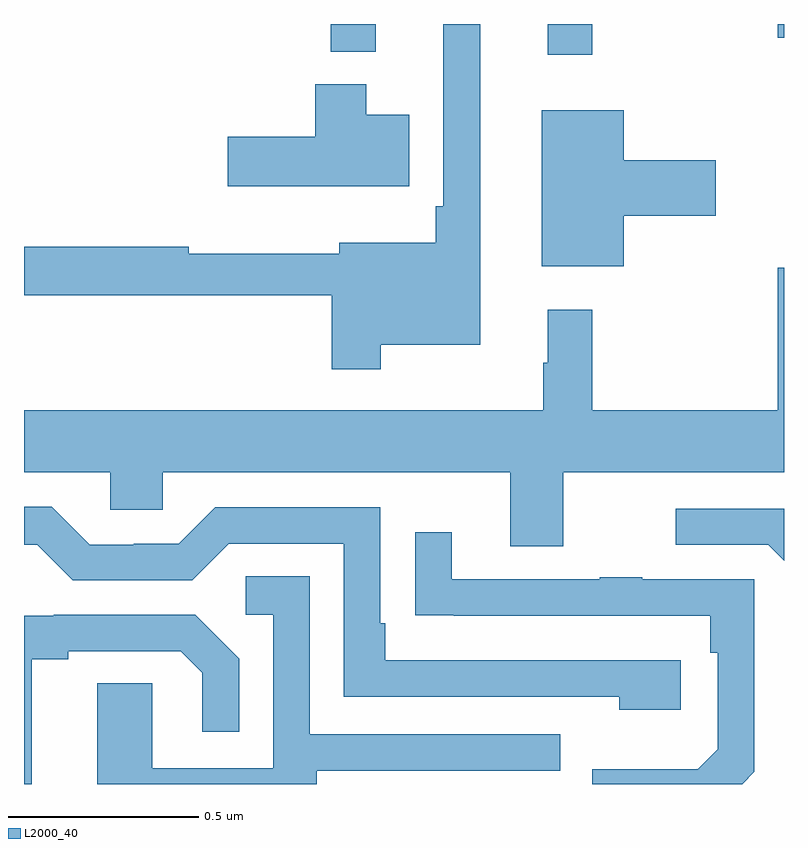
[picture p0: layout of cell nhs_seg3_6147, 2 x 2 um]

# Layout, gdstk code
import gdstk
lib = gdstk.Library(unit=1e-6, precision=1e-09)
def R(c, l, rs):  # rectangles x0, y0, x1, y1
    for r in rs: c.add(gdstk.rectangle(r[:2], r[2:], *l))
def P(c, l, *ps):  # polygons
    for p in ps: c.add(gdstk.Polygon(p, *l))
L2000_40 = (2000, 40)

nhs_seg3_6147 = lib.new_cell('nhs_seg3_6147')
R(nhs_seg3_6147, L2000_40, [(188.378,731.319,188.495,731.4), (187.807,731.327,187.925,731.4), (188.984,731.364,189,731.4)])
P(nhs_seg3_6147, L2000_40, [(187.939,730.556),(188.2,730.556),(188.2,731.4),(188.103,731.4),(188.103,730.921),(188.083,730.921),(188.083,730.825),(187.829,730.825),(187.829,730.795),(187.433,730.795),(187.433,730.814),(187,730.814),(187,730.686),(187.81,730.686),(187.81,730.491),(187.939,730.491)],
  [(188.014,731.161),(187.9,731.161),(187.9,731.242),(187.766,731.242),(187.766,731.103),(187.536,731.103),(187.536,730.973),(188.014,730.973)],
  [(188.578,730.895),(188.821,730.895),(188.821,731.042),(188.578,731.042),(188.578,731.173),(188.363,731.173),(188.363,730.763),(188.578,730.763)],
  [(188.419,730.22),(189,730.22),(189,730.759),(188.984,730.759),(188.984,730.384),(188.495,730.384),(188.495,730.648),(188.378,730.648),(188.378,730.508),(188.367,730.508),(188.367,730.384),(187,730.384),(187,730.22),(187.227,730.22),(187.227,730.122),(187.365,730.122),(187.365,730.22),(188.279,730.22),(188.279,730.026),(188.419,730.026)],
  [(188.728,729.726),(187.951,729.726),(187.951,729.823),(187.938,729.823),(187.938,730.128),(187.503,730.128),(187.407,730.032),(187.289,730.032),(187.289,730.029),(187.173,730.029),(187.073,730.129),(187,730.129),(187,730.029),(187.035,730.029),(187.128,729.936),(187.443,729.936),(187.539,730.032),(187.842,730.032),(187.842,729.63),(188.567,729.63),(188.567,729.596),(188.728,729.596)],
  [(189,730.125),(188.715,730.125),(188.715,730.029),(188.958,730.029),(189,729.987)],
  [(188.922,729.432),(188.922,729.939),(188.627,729.939),(188.627,729.944),(188.515,729.944),(188.515,729.939),(188.125,729.939),(188.125,730.063),(188.029,730.063),(188.029,729.844),(188.131,729.844),(188.131,729.843),(188.806,729.843),(188.806,729.746),(188.826,729.746),(188.826,729.492),(188.773,729.439),(188.496,729.439),(188.496,729.4),(188.89,729.4)],
  [(187.771,729.435),(188.411,729.435),(188.411,729.531),(187.752,729.531),(187.752,729.947),(187.584,729.947),(187.584,729.846),(187.656,729.846),(187.656,729.441),(187.338,729.441),(187.338,729.665),(187.193,729.665),(187.193,729.4),(187.771,729.4)],
  [(187.021,729.728),(187.117,729.728),(187.117,729.75),(187.412,729.75),(187.469,729.693),(187.469,729.537),(187.566,729.537),(187.566,729.73),(187.45,729.846),(187.078,729.846),(187.078,729.843),(187,729.843),(187,729.4),(187.021,729.4)])

lib.write_gds('nhs_seg3_6147.gds')
